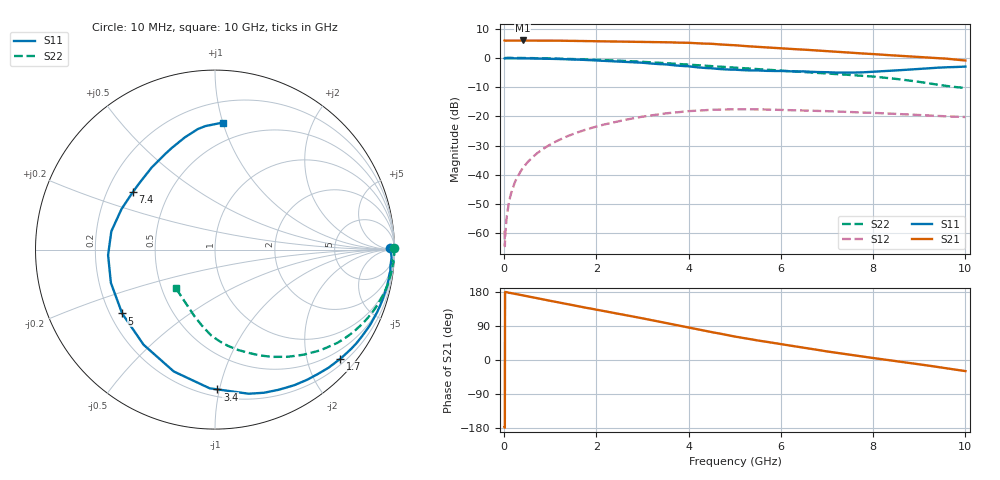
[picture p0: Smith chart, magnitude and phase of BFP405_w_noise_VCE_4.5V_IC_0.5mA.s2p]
! Infineon Technologies  Discrete & RF Semiconductors
! BFP405
! VCE =  4.5 V,  IC =  0.5 mA
! Common Emitter S-Parameters:  Jan 2016
# GHz  S  MA  R  50
!  f  S11  S21  S12  S22
! GHz  MAG  ANG  MAG  ANG  MAG  ANG  MAG  ANG
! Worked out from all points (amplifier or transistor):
!   233 points, 10 MHz to 10 GHz, reference 50 ohm
!   highest |S21| = 6.0 dB at 400 MHz (marker M1)
!   |S21| within 3 dB of that: start of sweep to 6.334 GHz
!   unconditionally stable (mu >= 1): 14.2 MHz to 15.17 MHz; 5.661 GHz to end of sweep
!   at 200 MHz: K = 0.06, MSG = 25.0 dB, |S12| = -44.0 dB
!   at 1.74 GHz: K = 0.16, MSG = 15.2 dB, |S12| = -24.7 dB
!   at 10 GHz: K = 2.41, MAG = 3.0 dB, |S12| = -20.2 dB
!   lowest NFmin = 0.78 dB at 900 MHz
!   S11 on the Smith chart (normalised r, x): 10 MHz: 77, +22; 1.7 GHz: 0.31, -2.64; 3.4 GHz: 0.25, -0.99; 5 GHz: 0.25, -0.29; 7.4 GHz: 0.31, +0.29; 10 GHz: 0.35, +1.00
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0.01  0.9763 0.4  1.98 -176.8  0.0011 -31.5  1 0.6
0.015  0.9814 0.2  1.972 -178.7  0.0006 9.9  0.9975 0.5
0.02  0.9865 0.0  1.966 179.4  0.0008 75.2  0.995 0.3
0.03  0.9848 -0.5  1.966 179.3  0.0011 74.4  0.9964 0.1
0.05  0.9817 -1.4  1.965 179.2  0.0017 73.7  0.9991 -0.3
0.13  0.984 -3.0  1.976 177.0  0.0042 84.5  0.9984 -1.6
0.24  0.9817 -5.4  1.982 174.4  0.0077 85.6  0.9909 -3.3
0.4  0.9822 -9.4  1.984 170.6  0.0129 84.3  0.9932 -5.1
0.92  0.9671 -21.7  1.975 158.1  0.0302 77.8  0.9801 -11.9
1.68  0.9274 -40.5  1.943 140.2  0.056 66.3  0.9446 -21.5
1.7  0.9263 -41.0  1.942 139.7  0.0567 66.0  0.9435 -21.7
2.6  0.8589 -65.2  1.894 119.1  0.0863 51.0  0.8868 -32.5
3.4  0.779 -89.0  1.856 100.3  0.1093 36.4  0.8209 -42.3
4  0.7168 -108.7  1.809 85.7  0.1226 25.3  0.7664 -49.8
4.5  0.6628 -126.9  1.739 73.6  0.1294 16.2  0.7212 -55.9
5  0.6279 -145.5  1.644 61.9  0.1321 7.6  0.6777 -61.9
5.1  0.6199 -148.8  1.619 59.9  0.1318 6.1  0.6697 -62.9
6  0.5964 -177.1  1.456 41.8  0.1291 -6.3  0.6049 -72.0
6.8  0.5714 162.0  1.333 26.6  0.1239 -14.5  0.5531 -80.2
7.4  0.5588 145.2  1.241 15.5  0.1194 -19.7  0.5157 -86.4
8.4  0.6016 117.2  1.105 -1.4  0.1108 -26.7  0.445 -97.3
10  0.7088 86.6  0.9 -29.3  0.0972 -30.3  0.3057 -135.6
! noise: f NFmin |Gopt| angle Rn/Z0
0.9  0.78  0.8  16  0.85
1.8  1.31  0.68  35  0.8
2.4  1.61  0.59  48  0.67
3  1.86  0.58  63  0.64
4  2.16  0.46  92  0.41
5  2.4  0.46  126  0.24
